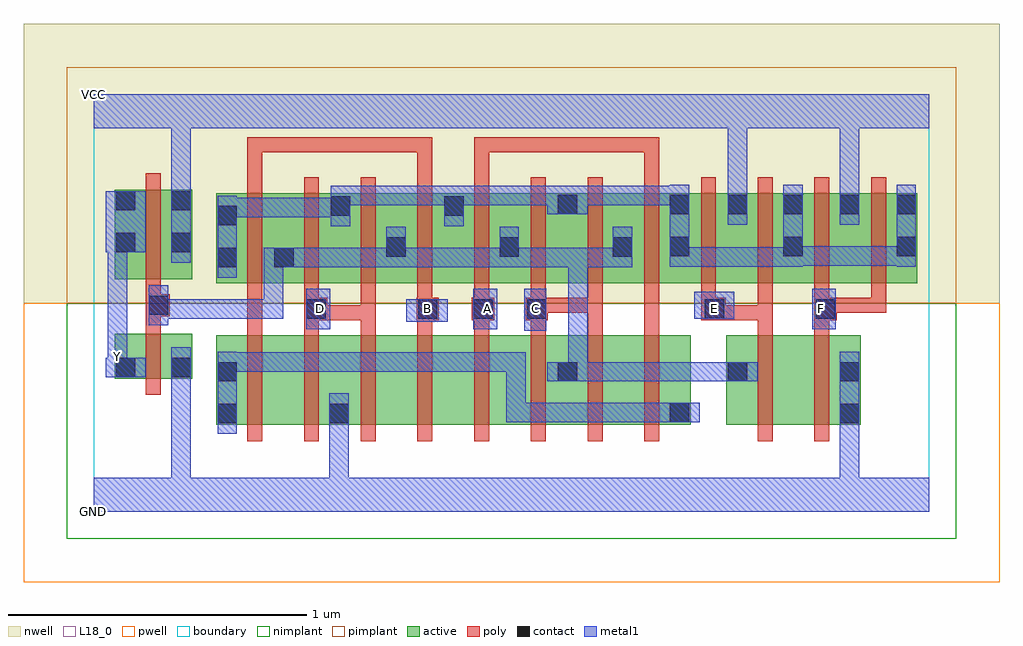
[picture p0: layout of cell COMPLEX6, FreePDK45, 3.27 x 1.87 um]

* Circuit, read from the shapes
.subckt COMPLEX6 A B C D E F GND VCC Y
M1 GND n1 Y VSUBS nfet w=0.15u l=0.05u
M2 n2 B n3 VSUBS nfet w=0.3u l=0.05u
M3 GND D n2 VSUBS nfet w=0.3u l=0.05u
M4 n4 D GND VSUBS nfet w=0.3u l=0.05u
M5 n5 B n4 VSUBS nfet w=0.3u l=0.05u
M6 n6 A n5 VSUBS nfet w=0.3u l=0.05u
M7 n1 C n6 VSUBS nfet w=0.3u l=0.05u
M8 n7 C n1 VSUBS nfet w=0.3u l=0.05u
M9 n3 A n7 VSUBS nfet w=0.3u l=0.05u
M10 n8 E n1 VSUBS nfet w=0.3u l=0.05u
M11 GND F n8 VSUBS nfet w=0.3u l=0.05u
M12 VCC n1 Y n9 pfet w=0.3u l=0.05u
M13 n1 B n10 n9 pfet w=0.3u l=0.05u m=2
M14 n10 D n1 n9 pfet w=0.3u l=0.05u m=2
M15 n1 A n10 n9 pfet w=0.3u l=0.05u m=2
M16 n10 C n1 n9 pfet w=0.3u l=0.05u m=2
M17 VCC E n10 n9 pfet w=0.3u l=0.05u m=2
M18 VCC F n10 n9 pfet w=0.3u l=0.05u m=2
.ends

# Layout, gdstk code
import gdstk
lib = gdstk.Library(unit=1e-6, precision=1e-09)
def R(c, l, rs):  # rectangles x0, y0, x1, y1
    for r in rs: c.add(gdstk.rectangle(r[:2], r[2:], *l))
def A(c, l, x, y, w, h, nx, ny, dx, dy):  # array of equal rectangles
    R(c, l, [(x+i*dx, y+j*dy, x+i*dx+w, y+j*dy+h) for i in range(nx) for j in range(ny)])
active = (1, 0)
pwell = (2, 0)
nwell = (3, 0)
nimplant = (4, 0)
pimplant = (5, 0)
poly = (9, 0)
contact = (10, 0)
metal1 = (11, 0)
L18_0 = (18, 0)
boundary = (235, 0)

complex6 = lib.new_cell('COMPLEX6')
A(complex6, active, 0.79, 0.767, 0.26, 0.3, 3, 1, 0.38, 0)
A(complex6, active, 1.925, 0.767, 0.075, 0.3, 3, 1, 0.38, 0)
A(complex6, active, 0.975, 0.85, 0.075, 0.205, 3, 1, 0.38, 0)
R(complex6, active, [(0.41,0.292,0.485,0.592), (0.41,0.292,0.635,0.592), (0.635,0.292,0.86,0.592), (0.785,0.292,1.015,0.592), (0.785,0.292,0.86,0.572), (1.015,0.292,1.205,0.592), (1.205,0.292,1.395,0.592), (1.395,0.292,1.625,0.592), (1.55,0.292,1.775,0.592), (1.775,0.292,2,0.592), (1.925,0.292,2,0.592), (2.12,0.292,2.195,0.592), (2.12,0.292,2.345,0.592), (2.345,0.292,2.57,0.592), (2.495,0.292,2.57,0.592), (1.55,0.33,1.625,0.507), (0.07,0.447,0.145,0.597), (0.07,0.447,0.33,0.597), (0.255,0.447,0.33,0.597), (0.41,0.767,0.675,1.067), (0.41,0.767,0.485,1.055), (0.6,0.767,0.865,1.067), (0.975,0.767,1.245,1.067), (1.355,0.767,1.625,1.067), (1.735,0.767,2,1.067), (1.925,0.767,2.195,1.067), (2.12,0.767,2.38,1.067), (2.305,0.767,2.57,1.067), (2.495,0.767,2.76,1.067), (0.07,0.78,0.145,1.08), (0.07,0.78,0.33,1.08), (0.255,0.78,0.33,1.08), (0.6,0.815,0.675,1.055), (0.79,0.882,0.865,1.062), (1.17,0.882,1.245,1.062), (1.55,0.882,1.625,1.067), (2.12,0.962,2.195,1.067), (2.495,0.962,2.57,1.067)])
R(complex6, pwell, [(-0.235,-0.235,3.035,0.7)])
R(complex6, nwell, [(-0.235,0.7,3.035,1.635)])
R(complex6, nimplant, [(-0.09,-0.09,2.89,0.7)])
R(complex6, pimplant, [(-0.09,0.7,2.89,1.49)])
A(complex6, poly, 0.515, 0.237, 0.05, 0.41, 8, 1, 0.19, 0)
A(complex6, poly, 0.515, 0.597, 0.05, 0.095, 6, 1, 0.19, 0)
A(complex6, poly, 1.085, 0.667, 0.05, 0.095, 4, 1, 0.19, 0)
A(complex6, poly, 0.515, 0.712, 0.05, 0.41, 12, 1, 0.19, 0)
R(complex6, poly, [(2.225,0.237,2.275,0.647), (2.415,0.237,2.465,0.647), (0.175,0.392,0.225,0.652), (1.655,0.597,1.705,0.717), (1.845,0.597,1.895,0.692), (2.225,0.597,2.275,0.692), (2.415,0.597,2.465,0.692), (0.175,0.602,0.225,0.705), (0.515,0.642,0.565,0.692), (0.515,0.642,0.565,0.762), (0.705,0.642,0.782,0.717), (0.732,0.642,0.945,0.692), (0.895,0.642,0.945,0.692), (0.895,0.642,0.945,0.692), (0.895,0.642,0.945,0.692), (0.895,0.642,0.945,0.762), (1.082,0.642,1.157,0.717), (1.267,0.642,1.342,0.717), (1.447,0.642,1.522,0.717), (1.845,0.642,1.895,0.692), (1.845,0.642,1.895,0.762), (2.035,0.642,2.117,0.717), (2.067,0.642,2.275,0.692), (2.225,0.642,2.275,0.692), (2.225,0.642,2.275,0.692), (2.225,0.642,2.275,0.692), (2.225,0.642,2.275,0.762), (2.415,0.642,2.49,0.717), (0.175,0.655,0.255,0.73), (0.705,0.667,0.755,0.762), (1.472,0.667,1.522,0.717), (1.472,0.667,1.522,0.717), (1.472,0.667,1.705,0.717), (1.655,0.667,1.705,0.717), (2.035,0.667,2.085,0.762), (2.415,0.667,2.465,0.762), (2.44,0.667,2.655,0.717), (2.44,0.667,2.49,0.717), (2.44,0.667,2.49,0.717), (2.605,0.667,2.655,0.762), (2.605,0.667,2.655,0.717), (0.175,0.68,0.225,0.775), (0.175,0.725,0.225,1.135), (0.515,1.072,0.565,1.255), (1.085,1.072,1.135,1.255), (1.275,1.072,1.325,1.255), (1.845,1.072,1.895,1.255), (0.515,1.205,0.565,1.255), (0.515,1.205,0.697,1.255), (0.647,1.205,0.697,1.255), (0.647,1.205,0.697,1.255), (0.647,1.205,0.697,1.255), (0.647,1.205,0.915,1.255), (0.865,1.205,0.915,1.255), (0.865,1.205,0.915,1.255), (0.865,1.205,0.915,1.255), (0.865,1.205,1.135,1.255), (1.085,1.205,1.135,1.255), (1.085,1.205,1.135,1.255), (1.085,1.205,1.135,1.255), (1.275,1.205,1.325,1.255), (1.275,1.205,1.325,1.255), (1.275,1.205,1.325,1.255), (1.275,1.205,1.457,1.255), (1.407,1.205,1.457,1.255), (1.407,1.205,1.762,1.255), (1.712,1.205,1.762,1.255), (1.712,1.205,1.762,1.255), (1.712,1.205,1.762,1.255), (1.712,1.205,1.895,1.255), (1.845,1.205,1.895,1.255), (1.845,1.205,1.895,1.255), (1.845,1.205,1.895,1.255)])
A(complex6, contact, 0.98, 0.855, 0.065, 0.065, 3, 1, 0.38, 0)
A(complex6, contact, 1.93, 0.857, 0.065, 0.065, 3, 1, 0.38, 0)
A(complex6, contact, 2.31, 0.997, 0.065, 0.065, 3, 1, 0.19, 0)
R(complex6, contact, [(0.415,0.297,0.48,0.362), (0.79,0.297,0.855,0.362), (2.5,0.297,2.565,0.362), (1.93,0.3,1.995,0.365), (0.415,0.437,0.48,0.502), (1.555,0.437,1.62,0.502), (2.125,0.437,2.19,0.502), (2.5,0.437,2.565,0.502), (0.075,0.452,0.14,0.517), (0.26,0.452,0.325,0.517), (0.712,0.647,0.777,0.712), (1.087,0.647,1.152,0.712), (1.272,0.647,1.337,0.712), (1.452,0.647,1.517,0.712), (2.047,0.647,2.112,0.712), (2.42,0.647,2.485,0.712), (0.185,0.66,0.25,0.725), (0.415,0.82,0.48,0.885), (0.605,0.82,0.67,0.885), (0.075,0.87,0.14,0.935), (0.26,0.87,0.325,0.935), (0.415,0.96,0.48,1.025), (0.795,0.992,0.86,1.057), (1.175,0.992,1.24,1.057), (1.555,0.997,1.62,1.062), (1.93,0.997,1.995,1.062), (2.125,0.997,2.19,1.062), (0.075,1.01,0.14,1.075), (0.26,1.01,0.325,1.075)])
A(complex6, metal1, 0.98, 0.82, 0.065, 0.135, 3, 1, 0.38, 0)
A(complex6, metal1, 1.93, 0.822, 0.065, 0.275, 3, 1, 0.38, 0)
R(complex6, metal1, [(0,0,2.8,0.115), (0.26,0.05,0.325,0.115), (0.26,0.05,0.325,0.115), (0.26,0.05,0.325,0.115), (0.26,0.05,0.325,0.115), (0.26,0.05,0.325,0.115), (0.26,0.05,0.325,0.115), (0.26,0.05,0.325,0.482), (0.79,0.05,0.855,0.115), (0.79,0.05,0.855,0.115), (0.79,0.05,0.855,0.327), (2.5,0.05,2.565,0.115), (2.5,0.05,2.565,0.115), (2.5,0.05,2.565,0.115), (2.5,0.05,2.565,0.115), (2.5,0.05,2.565,0.327), (0.415,0.262,0.48,0.537), (0.79,0.262,0.855,0.327), (0.79,0.262,0.855,0.327), (0.79,0.262,0.855,0.397), (2.5,0.262,2.565,0.537), (1.382,0.3,1.447,0.365), (1.382,0.3,1.447,0.365), (1.382,0.3,1.447,0.365), (1.382,0.3,1.655,0.365), (1.382,0.3,1.447,0.535), (1.59,0.3,1.655,0.365), (1.59,0.3,1.655,0.365), (1.59,0.3,1.655,0.365), (1.59,0.3,1.792,0.365), (1.727,0.3,1.792,0.365), (1.727,0.3,1.84,0.365), (1.775,0.3,1.84,0.365), (1.775,0.3,1.96,0.365), (1.895,0.3,2.03,0.365), (0.26,0.417,0.325,0.552), (1.52,0.437,1.655,0.502), (1.59,0.437,1.655,0.502), (1.59,0.437,1.655,0.502), (1.59,0.437,1.655,0.502), (1.59,0.437,1.655,0.502), (1.59,0.437,1.792,0.502), (1.59,0.437,1.655,0.885), (1.727,0.437,1.792,0.502), (1.727,0.437,1.94,0.502), (1.875,0.437,1.94,0.502), (1.875,0.437,1.94,0.502), (1.875,0.437,1.94,0.502), (1.875,0.437,2.155,0.502), (2.09,0.437,2.155,0.502), (2.09,0.437,2.155,0.502), (2.09,0.437,2.225,0.502), (0.04,0.452,0.175,0.517), (0.047,0.452,0.112,0.517), (0.047,0.452,0.112,0.587), (0.415,0.47,0.48,0.535), (0.415,0.47,0.48,0.535), (0.415,0.47,0.682,0.535), (0.617,0.47,0.682,0.535), (0.617,0.47,0.682,0.535), (0.617,0.47,0.682,0.535), (0.617,0.47,0.907,0.535), (0.842,0.47,0.907,0.535), (0.842,0.47,0.907,0.535), (0.842,0.47,0.907,0.535), (0.842,0.47,1.102,0.535), (1.037,0.47,1.102,0.535), (1.037,0.47,1.102,0.535), (1.037,0.47,1.102,0.535), (1.037,0.47,1.24,0.535), (1.175,0.47,1.24,0.535), (1.175,0.47,1.24,0.535), (1.175,0.47,1.24,0.535), (1.175,0.47,1.447,0.535), (1.382,0.47,1.447,0.535), (0.047,0.522,0.112,0.935), (1.442,0.607,1.517,0.747), (0.712,0.612,0.792,0.747), (1.272,0.612,1.352,0.747), (2.407,0.612,2.487,0.747), (0.185,0.625,0.25,0.76), (1.047,0.637,1.187,0.712), (0.185,0.647,0.25,0.712), (0.185,0.647,0.25,0.712), (0.185,0.647,0.497,0.712), (0.432,0.647,0.497,0.712), (0.432,0.647,0.497,0.712), (0.432,0.647,0.497,0.712), (0.432,0.647,0.635,0.712), (0.57,0.647,0.635,0.712), (0.57,0.647,0.635,0.885), (2.012,0.647,2.147,0.737), (0.415,0.785,0.48,1.06), (0.57,0.82,0.705,0.885), (0.64,0.82,0.705,0.885), (0.64,0.82,0.705,0.885), (0.64,0.82,0.907,0.885), (0.842,0.82,0.907,0.885), (0.842,0.82,0.907,0.885), (0.842,0.82,0.907,0.885), (0.842,0.82,1.045,0.885), (0.98,0.82,1.045,0.885), (0.98,0.82,1.045,0.885), (0.98,0.82,1.257,0.885), (1.192,0.82,1.257,0.885), (1.192,0.82,1.257,0.885), (1.192,0.82,1.257,0.885), (1.192,0.82,1.425,0.885), (1.36,0.82,1.425,0.885), (1.36,0.82,1.425,0.885), (1.36,0.82,1.655,0.885), (1.59,0.82,1.655,0.885), (1.59,0.82,1.655,0.885), (1.59,0.82,1.655,0.885), (1.59,0.82,1.805,0.885), (1.93,0.822,1.995,0.887), (1.93,0.822,1.995,0.887), (1.93,0.822,2.132,0.887), (2.067,0.822,2.132,0.887), (2.067,0.822,2.132,0.887), (2.067,0.822,2.132,0.887), (2.067,0.822,2.292,0.887), (2.227,0.822,2.292,0.887), (2.227,0.822,2.375,0.887), (2.31,0.825,2.512,0.89), (2.447,0.825,2.512,0.89), (2.447,0.825,2.512,0.89), (2.447,0.825,2.512,0.89), (2.447,0.825,2.755,0.89), (2.69,0.825,2.755,0.89), (2.69,0.825,2.755,0.89), (0.26,0.835,0.325,1.11), (0.04,0.87,0.175,1.075), (0.795,0.957,0.86,1.092), (1.175,0.957,1.24,1.092), (2.125,0.962,2.19,1.097), (2.5,0.962,2.565,1.097), (0.415,0.987,0.48,1.052), (0.415,0.987,0.48,1.052), (0.415,0.987,0.635,1.052), (0.57,0.987,0.635,1.052), (0.57,0.987,0.635,1.052), (0.57,0.987,0.635,1.052), (0.57,0.987,0.86,1.052), (1.52,0.997,1.655,1.092), (0.795,1.027,0.86,1.092), (0.795,1.027,0.86,1.092), (0.795,1.027,1.102,1.092), (1.037,1.027,1.102,1.092), (1.037,1.027,1.102,1.092), (1.037,1.027,1.102,1.092), (1.037,1.027,1.24,1.092), (1.175,1.027,1.24,1.092), (1.175,1.027,1.24,1.092), (1.175,1.027,1.395,1.092), (1.33,1.027,1.395,1.092), (1.33,1.027,1.395,1.092), (1.33,1.027,1.395,1.092), (1.33,1.027,1.585,1.092), (1.59,1.027,1.655,1.092), (1.59,1.027,1.655,1.092), (1.59,1.027,1.802,1.092), (1.737,1.027,1.802,1.092), (1.737,1.027,1.802,1.092), (1.737,1.027,1.802,1.092), (1.737,1.027,1.995,1.092), (2.125,1.032,2.19,1.097), (2.125,1.032,2.19,1.097), (2.125,1.032,2.19,1.35), (2.5,1.032,2.565,1.35), (0.26,1.045,0.325,1.35), (0,1.285,2.8,1.4), (0.26,1.285,0.325,1.35), (0.26,1.285,0.325,1.35), (2.5,1.285,2.565,1.35), (2.5,1.285,2.565,1.35)])
R(complex6, L18_0, [(0,0,2.8,0.115), (0.26,0.05,0.325,0.115), (0.26,0.05,0.325,0.115), (0.26,0.05,0.325,0.115), (0.26,0.05,0.325,0.115), (0.26,0.05,0.325,0.115), (0.26,0.05,0.325,0.115), (0.26,0.05,0.325,0.482), (0.79,0.05,0.855,0.115), (0.79,0.05,0.855,0.115), (0.79,0.05,0.855,0.327), (2.5,0.05,2.565,0.115), (2.5,0.05,2.565,0.115), (2.5,0.05,2.565,0.115), (2.5,0.05,2.565,0.115), (2.5,0.05,2.565,0.327), (0.79,0.262,0.855,0.397), (0.79,0.262,0.855,0.327), (0.79,0.262,0.855,0.327), (2.5,0.262,2.565,0.537), (0.26,0.417,0.325,0.552), (0.04,0.452,0.175,0.517), (0.047,0.452,0.112,0.587), (0.047,0.452,0.112,0.517), (0.047,0.487,0.112,0.552), (0.047,0.522,0.112,0.935), (1.442,0.607,1.517,0.747), (0.712,0.612,0.792,0.747), (1.272,0.612,1.352,0.747), (2.407,0.612,2.487,0.747), (1.047,0.637,1.187,0.712), (0.727,0.647,0.792,0.712), (1.087,0.647,1.152,0.712), (1.287,0.647,1.352,0.712), (1.447,0.647,1.512,0.712), (2.012,0.647,2.147,0.737), (2.047,0.647,2.112,0.712), (2.407,0.647,2.472,0.712), (0.26,0.835,0.325,1.11), (0.04,0.87,0.175,1.075), (2.125,0.962,2.19,1.097), (2.5,0.962,2.565,1.097), (2.125,1.032,2.19,1.097), (2.125,1.032,2.19,1.097), (2.125,1.032,2.19,1.35), (2.5,1.032,2.565,1.35), (0.26,1.045,0.325,1.35), (0,1.285,2.8,1.4), (0.26,1.285,0.325,1.35), (0.26,1.285,0.325,1.35), (2.5,1.285,2.565,1.35), (2.5,1.285,2.565,1.35)])
R(complex6, boundary, [(0,0,2.8,1.4)])
complex6.add(gdstk.Label('A', (1.32,0.68), layer=11, texttype=0))
complex6.add(gdstk.Label('B', (1.12,0.68), layer=11, texttype=0))
complex6.add(gdstk.Label('C', (1.48,0.68), layer=11, texttype=0))
complex6.add(gdstk.Label('D', (0.76,0.68), layer=11, texttype=0))
complex6.add(gdstk.Label('E', (2.08,0.68), layer=11, texttype=0))
complex6.add(gdstk.Label('F', (2.44,0.68), layer=11, texttype=0))
complex6.add(gdstk.Label('Y', (0.08,0.52), layer=11, texttype=0))
complex6.add(gdstk.Label('VCC', (0,1.4), layer=11, texttype=0))
complex6.add(gdstk.Label('GND', (0,0), layer=11, texttype=0))

lib.write_gds('COMPLEX6.gds')
